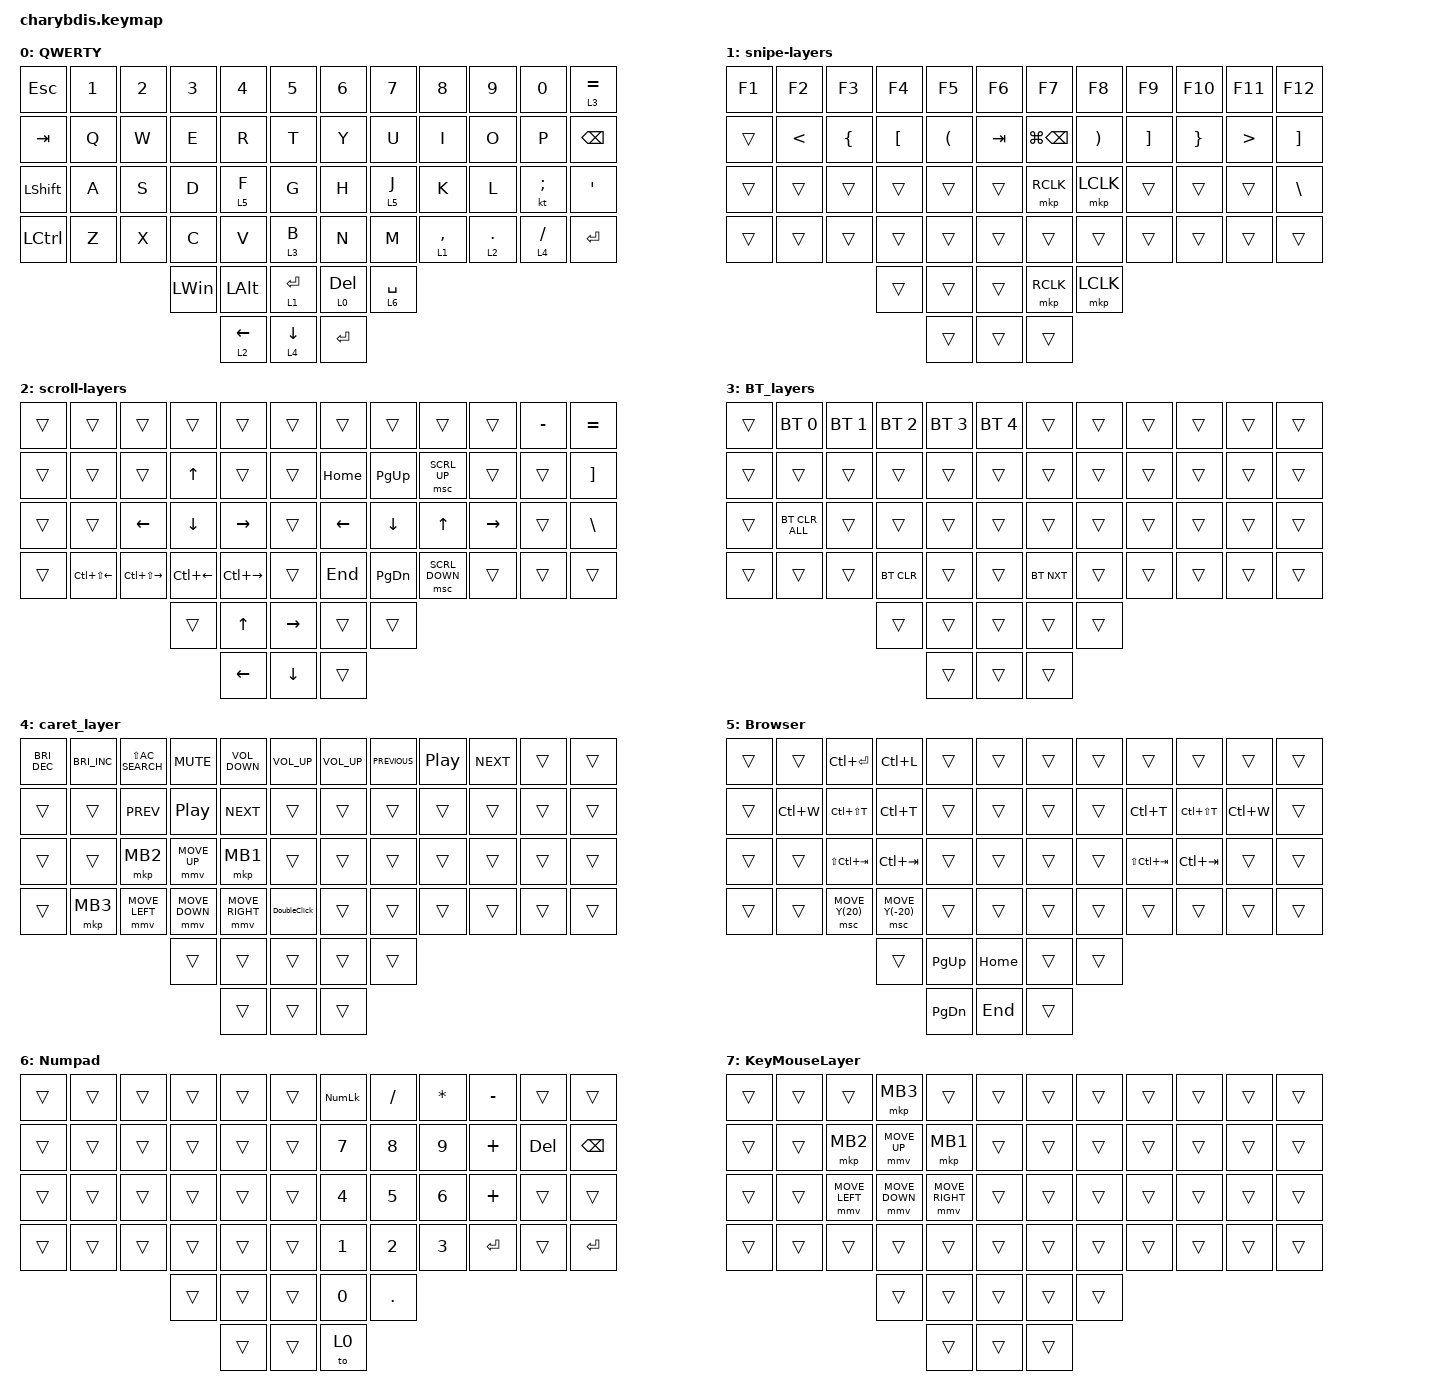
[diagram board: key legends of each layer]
#include <behaviors.dtsi>
#include <dt-bindings/zmk/bt.h>
#include <dt-bindings/zmk/keys.h>
#include <dt-bindings/zmk/pointing.h>

&mt {
    tapping-term-ms = <200>;
    quick-tap-ms = <130>;
    flavor = "tap-preferred";
    require-prior-idle-ms = <40>;  // Предотвращает случайные срабатывания при быстрой печати
};

&lt {
    tapping-term-ms = <200>;
    flavor = "tap-preferred";
    quick-tap-ms = <130>;
    require-prior-idle-ms = <40>;
};

/ {
    combos {
        compatible = "zmk,combos";

        // Скобки — одновременное нажатие соседних клавиш

        combo_rbrace {
            timeout-ms = <50>;
            key-positions = <21 22>;  // O + P
            bindings = <&kp RBKT>;    // ]
        };

        combo_equal {
            timeout-ms = <50>;
            key-positions = <20 21>;  // I + O
            bindings = <&kp LEFT_BRACKET>;    // =
        };

        combo_minus {
            timeout-ms = <50>;
            key-positions = <11 10>;  // U + I
            bindings = <&kp MINUS>;    // -
        };

        // Переключение языка — J + K одновременно
        // Переключение языка с Shift — D + F одновременно (Right Command + Shift + Space)

        combo_studio_unlock {
            timeout-ms = <50>;
            key-positions = <0 11>;  // Grave + Backspace одновременно
            bindings = <&studio_unlock>;
        };

        RhMB1 {
            bindings = <&mkp MB1>;
            key-positions = <52 44>;
        };

        RhMB2 {
            bindings = <&mkp MB2>;
            key-positions = <44 32>;
        };

        RhThumbMB1 {
            bindings = <&mkp MB1>;
            key-positions = <43 44>;
        };

        RhMB3 {
            bindings = <&mkp MB3>;
            key-positions = <44 32>;
        };

        printScreenRight {
            bindings = <&kp PRINTSCREEN>;
            key-positions = <9 10 11>;
        };

        printScreenLeft {
            bindings = <&kp PRINTSCREEN>;
            key-positions = <0 1 2>;
        };
    };

    behaviors {
        ToLayerTap: ToLayerTap {
            compatible = "zmk,behavior-hold-tap";
            label = "TOLAYERTAP";
            bindings = <&to>, <&kp>;

            #binding-cells = <2>;
            tapping-term-ms = <200>;
            flavor = "tap-preferred";
        };
    };

    macros {
        DoubleClick: DoubleClick {
            compatible = "zmk,behavior-macro";
            #binding-cells = <0>;
            bindings = <&mkp MB1 &mkp MB1>;
            label = "DOUBLECLICK";
        };
    };

    keymap {
        compatible = "zmk,keymap";

        QWERTY {
            bindings = <
&kp ESC         &kp N1  &kp N2  &kp N3        &kp N4        &kp N5         &kp N6     &kp N7               &kp N8       &kp N9     &kp N0         &lt 3 EQUAL
&kp TAB         &kp Q   &kp W   &kp E         &kp R         &kp T          &kp Y      &kp U                &kp I        &kp O      &kp P          &kp BACKSPACE
&kp LEFT_SHIFT  &kp A   &kp S   &kp D         &lt 5 F       &kp G          &kp H      &lt 5 J              &kp K        &kp L      &kt SEMICOLON  &kp SQT
&kp LCTRL       &kp Z   &kp X   &kp C         &kp V         &lt 3 B        &kp N      &kp M                &lt 1 COMMA  &lt 2 DOT  &lt 4 SLASH    &kp ENTER
                                &kp LEFT_WIN  &kp LEFT_ALT  &lt 1 ENTER    &lt 0 DEL  &ToLayerTap 6 SPACE
                                              &lt 2 LEFT    &lt 4 DOWN     &kp ENTER
            >;
        };

        snipe-layers {
            bindings = <
&kp F1  &kp F2         &kp F3          &kp F4            &kp F5                &kp F6     &kp F7             &kp F8                 &kp F9             &kp F10          &kp F11           &kp F12
&trans  &kp LESS_THAN  &kp LEFT_BRACE  &kp LEFT_BRACKET  &kp LEFT_PARENTHESIS  &kp TAB    &kp LG(BACKSPACE)  &kp RIGHT_PARENTHESIS  &kp RIGHT_BRACKET  &kp RIGHT_BRACE  &kp GREATER_THAN  &kp RIGHT_BRACKET
&trans  &trans         &trans          &trans            &trans                &trans     &mkp RCLK          &mkp LCLK              &trans             &trans           &trans            &kp BACKSLASH
&trans  &trans         &trans          &trans            &trans                &trans     &trans             &trans                 &trans             &trans           &trans            &trans
                                       &trans            &trans                &trans     &mkp RCLK          &mkp LCLK
                                                         &trans                &trans     &trans
            >;
        };

        scroll-layers {
            bindings = <
&trans  &trans            &trans             &trans        &trans          &trans             &trans    &trans         &trans          &trans     &kp MINUS  &kp EQUAL
&trans  &trans            &trans             &kp UP_ARROW  &trans          &trans             &kp HOME  &kp PAGE_UP    &msc SCRL_UP    &trans     &trans     &kp RBKT
&trans  &trans            &kp LEFT           &kp DOWN      &kp RIGHT       &trans             &kp LEFT  &kp DOWN       &kp UP          &kp RIGHT  &trans     &kp BACKSLASH
&trans  &kp LC(LS(LEFT))  &kp LC(LS(RIGHT))  &kp LC(LEFT)  &kp LC(RIGHT)   &trans             &kp END   &kp PAGE_DOWN  &msc SCRL_DOWN  &trans     &trans     &trans
                                             &trans        &kp UP_ARROW    &kp RIGHT_ARROW    &trans    &trans
                                                           &kp LEFT_ARROW  &kp DOWN_ARROW     &trans
            >;
        };

        BT_layers {
            bindings = <
&trans  &bt BT_SEL 0    &bt BT_SEL 1  &bt BT_SEL 2  &bt BT_SEL 3  &bt BT_SEL 4    &trans      &trans  &trans  &trans  &trans  &trans
&trans  &trans          &trans        &trans        &trans        &trans          &trans      &trans  &trans  &trans  &trans  &trans
&trans  &bt BT_CLR_ALL  &trans        &trans        &trans        &trans          &trans      &trans  &trans  &trans  &trans  &trans
&trans  &trans          &trans        &bt BT_CLR    &trans        &trans          &bt BT_NXT  &trans  &trans  &trans  &trans  &trans
                                      &trans        &trans        &trans          &trans      &trans
                                                    &trans        &trans          &trans
            >;
        };

        // Layer 6: CARET — трекбол двигает текстовый курсор (стрелки) вместо мыши
        // Все клавиши прозрачны, клавиатура работает как обычно

        caret_layer {
            bindings = <
&kp C_BRIGHTNESS_DEC  &kp C_BRIGHTNESS_INC  &kp LS(C_AC_SEARCH)  &kp K_MUTE        &kp C_VOLUME_DOWN  &kp C_VOLUME_UP    &kp C_VOLUME_UP  &kp C_PREVIOUS  &kp C_PLAY_PAUSE  &kp C_NEXT  &trans  &trans
&trans                &trans                &kp C_PREV           &kp C_PLAY_PAUSE  &kp C_NEXT         &trans             &trans           &trans          &trans            &trans      &trans  &trans
&trans                &trans                &mkp MB2             &mmv MOVE_UP      &mkp MB1           &trans             &trans           &trans          &trans            &trans      &trans  &trans
&trans                &mkp MB3              &mmv MOVE_LEFT       &mmv MOVE_DOWN    &mmv MOVE_RIGHT    &DoubleClick       &trans           &trans          &trans            &trans      &trans  &trans
                                                                 &trans            &trans             &trans             &trans           &trans
                                                                                   &trans             &trans             &trans
            >;
        };

        Browser {
            bindings = <
&trans  &trans     &kp LC(ENTER)    &kp LC(L)         &trans         &trans      &trans  &trans  &trans           &trans         &trans     &trans
&trans  &kp LC(W)  &kp LC(LS(T))    &kp LC(T)         &trans         &trans      &trans  &trans  &kp LC(T)        &kp LC(LS(T))  &kp LC(W)  &trans
&trans  &trans     &kp LS(LC(TAB))  &kp LC(TAB)       &trans         &trans      &trans  &trans  &kp LS(LC(TAB))  &kp LC(TAB)    &trans     &trans
&trans  &trans     &msc MOVE_Y(20)  &msc MOVE_Y(-20)  &trans         &trans      &trans  &trans  &trans           &trans         &trans     &trans
                                    &trans            &kp PG_UP      &kp HOME    &trans  &trans
                                                      &kp PAGE_DOWN  &kp END     &trans
            >;
        };

        Numpad {
            bindings = <
&trans  &trans  &trans  &trans  &trans  &trans    &kp KP_NUMLOCK  &kp SLASH  &kp ASTERISK  &kp MINUS  &trans   &trans
&trans  &trans  &trans  &trans  &trans  &trans    &kp N7          &kp N8     &kp N9        &kp PLUS   &kp DEL  &kp BACKSPACE
&trans  &trans  &trans  &trans  &trans  &trans    &kp N4          &kp N5     &kp N6        &kp PLUS   &trans   &trans
&trans  &trans  &trans  &trans  &trans  &trans    &kp N1          &kp N2     &kp N3        &kp ENTER  &trans   &kp ENTER
                        &trans  &trans  &trans    &kp N0          &kp DOT
                                &trans  &trans    &to 0
            >;
        };

        KeyMouseLayer {
            bindings = <
&trans  &trans  &trans          &mkp MB3        &trans           &trans    &trans  &trans  &trans  &trans  &trans  &trans
&trans  &trans  &mkp MB2        &mmv MOVE_UP    &mkp MB1         &trans    &trans  &trans  &trans  &trans  &trans  &trans
&trans  &trans  &mmv MOVE_LEFT  &mmv MOVE_DOWN  &mmv MOVE_RIGHT  &trans    &trans  &trans  &trans  &trans  &trans  &trans
&trans  &trans  &trans          &trans          &trans           &trans    &trans  &trans  &trans  &trans  &trans  &trans
                                &trans          &trans           &trans    &trans  &trans
                                                &trans           &trans    &trans
            >;
        };
    };
};
